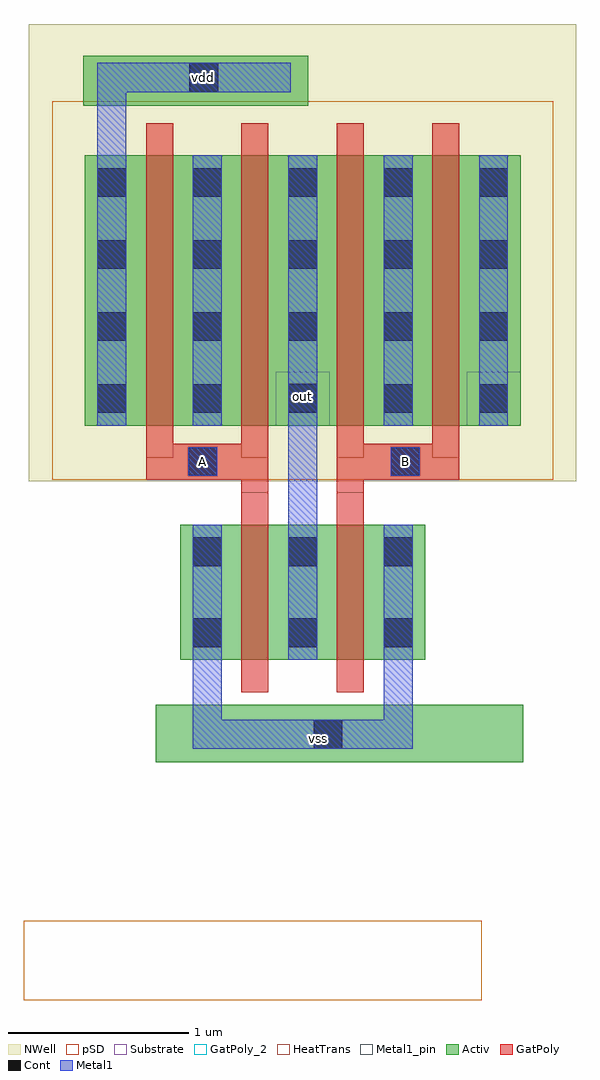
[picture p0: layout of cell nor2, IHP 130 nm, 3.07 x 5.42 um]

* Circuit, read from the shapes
.subckt nor2 A B out vdd vss
XM1 out A vss VSUBS sg13_lv_nmos w=0.75u l=0.15u
XM2 vss B out VSUBS sg13_lv_nmos w=0.75u l=0.15u
XM3 n1 A vdd vdd sg13_lv_pmos w=1.5u l=0.15u
XM4 out A n1 vdd sg13_lv_pmos w=1.5u l=0.15u
XM5 n2 B out vdd sg13_lv_pmos w=1.5u l=0.15u
XM6 n3 B n2 vdd sg13_lv_pmos w=1.5u l=0.15u
.ends

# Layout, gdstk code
import gdstk
lib = gdstk.Library(unit=1e-6, precision=5e-09)
def R(c, l, rs):  # rectangles x0, y0, x1, y1
    for r in rs: c.add(gdstk.rectangle(r[:2], r[2:], *l))
def A(c, l, x, y, w, h, nx, ny, dx, dy):  # array of equal rectangles
    R(c, l, [(x+i*dx, y+j*dy, x+i*dx+w, y+j*dy+h) for i in range(nx) for j in range(ny)])
Activ = (1, 0)
GatPoly = (5, 0)
GatPoly_2 = (5, 2)
Cont = (6, 0)
Metal1 = (8, 0)
Metal1_pin = (8, 2)
pSD = (14, 0)
NWell = (31, 0)
Substrate = (40, 0)
HeatTrans = (51, 0)

nmos_2 = lib.new_cell('nmos$2')
R(nmos_2, Activ, [(0,0,0.3,0.3), (0,0,0.83,0.75), (0.53,0,0.83,0.3)])
R(nmos_2, GatPoly, [(0.34,-0.18,0.49,0.93)])
R(nmos_2, GatPoly_2, [(0.34,-0.18,0.49,0.93)])
R(nmos_2, Cont, [(0.07,0.07,0.23,0.23), (0.6,0.07,0.76,0.23), (0.07,0.52,0.23,0.68), (0.6,0.52,0.76,0.68)])
R(nmos_2, Metal1, [(0.07,0,0.23,0.75), (0.6,0,0.76,0.75)])
R(nmos_2, Metal1_pin, [(0.07,0,0.23,0.75), (0.6,0,0.76,0.75)])
R(nmos_2, HeatTrans, [(0.34,-0.18,0.49,0.93)])
nmos_2.add(gdstk.Label('nmos', (0.415,0.375), layer=63, texttype=0))
nmos_2.add(gdstk.Label('nmos', (0.415,0.375), layer=51, texttype=0))

pmos = lib.new_cell('pmos')
A(pmos, Activ, 0, 0, 0.3, 0.3, 3, 1, 0.53, 0)
R(pmos, Activ, [(0,0,1.36,1.5)])
R(pmos, GatPoly, [(0.34,-0.18,0.49,1.68), (0.34,-0.18,0.49,1.68), (0.87,-0.18,1.02,1.68)])
A(pmos, Cont, 0.07, 0.07, 0.16, 0.16, 3, 4, 0.53, 0.4)
R(pmos, Metal1, [(0.07,0,0.23,1.5), (0.07,0,0.23,1.5), (0.6,0,0.76,1.5), (0.6,0,0.76,1.5), (1.13,0,1.29,1.5)])
R(pmos, pSD, [(-0.18,-0.3,1.54,1.8)])
R(pmos, NWell, [(-0.31,-0.31,1.67,1.81)])
R(pmos, Substrate, [(1.06,0,1.36,0.3)])
R(pmos, HeatTrans, [(0.34,-0.18,0.49,1.68), (0.87,-0.18,1.02,1.68)])
pmos.add(gdstk.Label('pmos', (0.415,0.75), layer=63, texttype=0))
pmos.add(gdstk.Label('pmos', (0.415,0.75), layer=51, texttype=0))
pmos.add(gdstk.Label('pmos', (0.945,0.75), layer=51, texttype=0))

nor2 = lib.new_cell('nor2')
R(nor2, Activ, [(-1.685,0.295,0.355,0.615), (-2.09,3.94,-0.84,4.22)])
R(nor2, GatPoly, [(-1.21,1.795,-1.06,2.065), (-0.68,1.795,-0.53,2.065), (-1.74,1.865,-1.21,2.065), (-0.68,1.865,0,2.065)])
R(nor2, Cont, [(-0.81,0.37,-0.65,0.53), (-1.505,1.885,-1.345,2.045), (-0.38,1.885,-0.22,2.045), (-1.5,4.02,-1.34,4.18)])
R(nor2, Metal1, [(-1.48,0.37,-1.32,1.095), (-1.48,0.37,-0.26,0.53), (-0.81,0.37,-0.65,0.53), (-0.42,0.37,-0.26,1.095), (-0.95,1.38,-0.79,2.39), (-1.505,1.885,-1.345,2.045), (-0.38,1.885,-0.22,2.045), (-2.01,3.44,-1.85,4.18), (-2.005,4.015,-0.935,4.18), (-1.5,4.02,-1.345,4.18)])
R(nor2, Metal1_pin, [(-0.81,0.37,-0.65,0.53), (-1.505,1.885,-1.345,2.045), (-0.38,1.885,-0.22,2.045), (-0.95,2.24,-0.79,2.4), (-1.495,4.02,-1.34,4.18)])
R(nor2, pSD, [(-2.42,-1.025,0.125,-0.585)])
R(nor2, NWell, [(-2.39,3.975,0.65,4.395)])
nor2.add(gdstk.Reference(nmos_2, (-1.02,0.865)))
nor2.add(gdstk.Reference(pmos, (-1.02,2.165)))
nor2.add(gdstk.Reference(nmos_2, (-1.55,0.865)))
nor2.add(gdstk.Reference(pmos, (-2.08,2.165)))
nor2.add(gdstk.Label('A', (-1.425,1.965), layer=8, texttype=2))
nor2.add(gdstk.Label('B', (-0.3,1.965), layer=8, texttype=2))
nor2.add(gdstk.Label('vss', (-0.785,0.425), layer=8, texttype=2))
nor2.add(gdstk.Label('vdd', (-1.42,4.1), layer=8, texttype=2))
nor2.add(gdstk.Label('out', (-0.87,2.325), layer=8, texttype=2))

lib.write_gds('nor2.gds')
